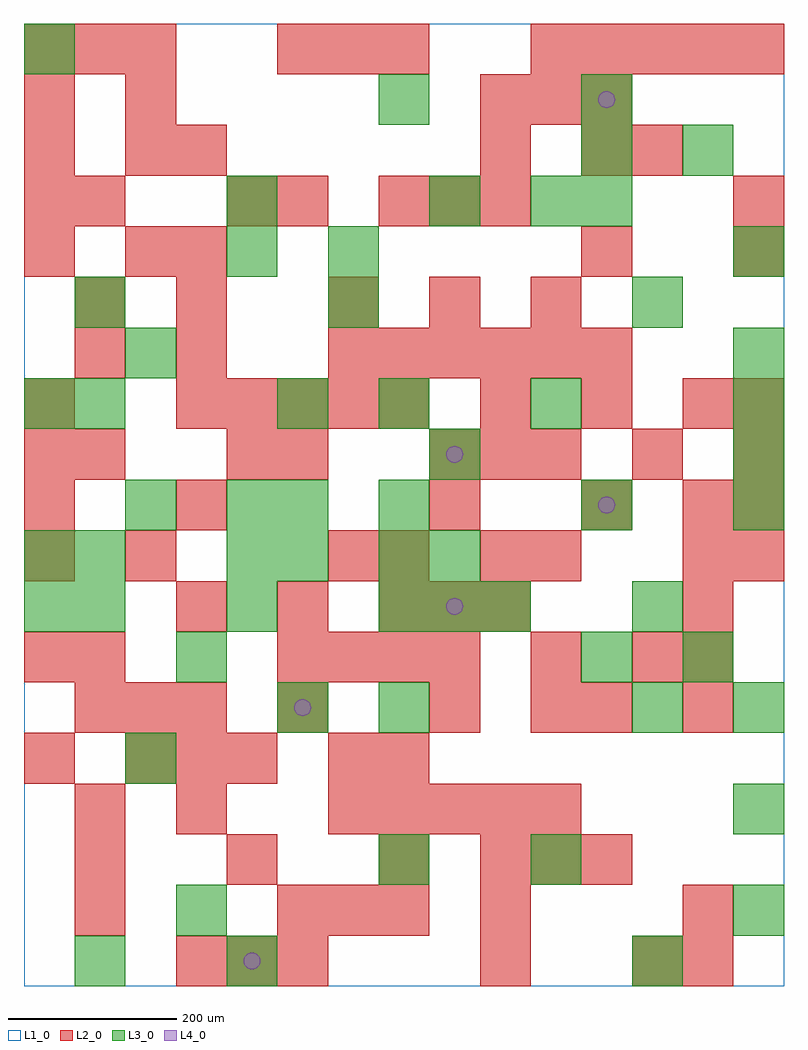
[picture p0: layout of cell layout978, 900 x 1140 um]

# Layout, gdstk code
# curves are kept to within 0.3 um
import gdstk
lib = gdstk.Library(unit=1e-6, precision=1e-09)
def R(c, l, rs):  # rectangles x0, y0, x1, y1
    for r in rs: c.add(gdstk.rectangle(r[:2], r[2:], *l))
def A(c, l, x, y, w, h, nx, ny, dx, dy):  # array of equal rectangles
    R(c, l, [(x+i*dx, y+j*dy, x+i*dx+w, y+j*dy+h) for i in range(nx) for j in range(ny)])
def P(c, l, *ps):  # polygons
    for p in ps: c.add(gdstk.Polygon(p, *l))
L1_0 = (1, 0)
L2_0 = (2, 0)
L3_0 = (3, 0)
L4_0 = (4, 0)

layout978 = lib.new_cell('layout978')
R(layout978, L1_0, [(0,0,900,1140)])
A(layout978, L2_0, 180, 0, 60, 60, 3, 1, 60, 0)
A(layout978, L2_0, 300, 60, 60, 60, 3, 2, 60, 1020)
A(layout978, L2_0, 60, 120, 60, 60, 3, 1, 180, 0)
A(layout978, L2_0, 540, 120, 60, 60, 3, 2, 60, 900)
A(layout978, L2_0, 360, 180, 60, 60, 5, 1, 60, 0)
A(layout978, L2_0, 0, 240, 60, 60, 1, 3, 0, 120)
A(layout978, L2_0, 120, 240, 60, 60, 3, 1, 60, 0)
A(layout978, L2_0, 60, 300, 60, 60, 3, 1, 60, 0)
A(layout978, L2_0, 300, 300, 60, 60, 1, 3, 0, 300)
A(layout978, L2_0, 480, 300, 60, 60, 1, 3, 0, 120)
A(layout978, L2_0, 780, 300, 60, 60, 1, 5, 0, 60)
A(layout978, L2_0, 300, 360, 60, 60, 4, 1, 60, 0)
A(layout978, L2_0, 180, 420, 60, 60, 3, 1, 120, 0)
A(layout978, L2_0, 840, 480, 60, 60, 1, 4, 0, 60)
A(layout978, L2_0, 0, 540, 60, 60, 1, 3, 0, 60)
A(layout978, L2_0, 480, 600, 60, 60, 3, 1, 60, 0)
A(layout978, L2_0, 180, 660, 60, 60, 5, 1, 60, 0)
A(layout978, L2_0, 540, 660, 60, 60, 3, 1, 120, 0)
A(layout978, L2_0, 180, 720, 60, 60, 1, 3, 0, 60)
A(layout978, L2_0, 360, 720, 60, 60, 6, 1, 60, 0)
A(layout978, L2_0, 360, 780, 60, 60, 3, 1, 120, 0)
A(layout978, L2_0, 0, 840, 60, 60, 1, 4, 0, 60)
A(layout978, L2_0, 420, 900, 60, 60, 3, 1, 60, 0)
A(layout978, L2_0, 0, 1080, 60, 60, 3, 1, 60, 0)
A(layout978, L2_0, 600, 1080, 60, 60, 5, 1, 60, 0)
R(layout978, L2_0, [(540,0,600,60), (720,0,780,60), (780,0,840,60), (60,60,120,120), (540,60,600,120), (780,60,840,120), (60,180,120,240), (180,180,240,240), (360,240,420,300), (420,240,480,300), (600,300,660,360), (660,300,720,360), (60,360,120,420), (600,360,660,420), (720,360,780,420), (540,420,600,480), (120,480,180,540), (360,480,420,540), (420,480,480,540), (540,480,600,540), (600,480,660,540), (180,540,240,600), (660,540,720,600), (60,600,120,660), (240,600,300,660), (720,600,780,660), (60,720,120,780), (60,780,120,840), (120,840,180,900), (660,840,720,900), (840,840,900,900), (60,900,120,960), (240,900,300,960), (840,900,900,960), (120,960,180,1020), (180,960,240,1020), (540,960,600,1020), (660,960,720,1020), (720,960,780,1020), (120,1020,180,1080)])
A(layout978, L3_0, 840, 60, 60, 60, 1, 3, 0, 120)
A(layout978, L3_0, 420, 120, 60, 60, 1, 3, 0, 180)
A(layout978, L3_0, 60, 420, 60, 60, 3, 1, 180, 0)
A(layout978, L3_0, 840, 540, 60, 60, 1, 4, 0, 60)
A(layout978, L3_0, 660, 900, 60, 60, 1, 3, 0, 60)
R(layout978, L3_0, [(60,0,120,60), (240,0,300,60), (720,0,780,60), (180,60,240,120), (600,120,660,180), (120,240,180,300), (300,300,360,360), (720,300,780,360), (180,360,240,420), (660,360,720,420), (780,360,840,420), (0,420,60,480), (480,420,540,480), (540,420,600,480), (720,420,780,480), (0,480,60,540), (60,480,120,540), (240,480,300,540), (300,480,360,540), (480,480,540,540), (120,540,180,600), (240,540,300,600), (300,540,360,600), (420,540,480,600), (660,540,720,600), (480,600,540,660), (0,660,60,720), (60,660,120,720), (300,660,360,720), (420,660,480,720), (600,660,660,720), (120,720,180,780), (60,780,120,840), (360,780,420,840), (720,780,780,840), (240,840,300,900), (360,840,420,900), (840,840,900,900), (240,900,300,960), (480,900,540,960), (600,900,660,960), (780,960,840,1020), (420,1020,480,1080), (0,1080,60,1140)])
P(layout978, L4_0, [(280,30),(279.239,33.827),(277.071,37.071),(273.827,39.239),(270,40),(266.173,39.239),(262.929,37.071),(260.761,33.827),(260,30),(260.761,26.173),(262.929,22.929),(266.173,20.761),(270,20),(273.827,20.761),(277.071,22.929),(279.239,26.173)],
  [(340,330),(339.239,333.827),(337.071,337.071),(333.827,339.239),(330,340),(326.173,339.239),(322.929,337.071),(320.761,333.827),(320,330),(320.761,326.173),(322.929,322.929),(326.173,320.761),(330,320),(333.827,320.761),(337.071,322.929),(339.239,326.173)],
  [(520,450),(519.239,453.827),(517.071,457.071),(513.827,459.239),(510,460),(506.173,459.239),(502.929,457.071),(500.761,453.827),(500,450),(500.761,446.173),(502.929,442.929),(506.173,440.761),(510,440),(513.827,440.761),(517.071,442.929),(519.239,446.173)],
  [(520,630),(519.239,633.827),(517.071,637.071),(513.827,639.239),(510,640),(506.173,639.239),(502.929,637.071),(500.761,633.827),(500,630),(500.761,626.173),(502.929,622.929),(506.173,620.761),(510,620),(513.827,620.761),(517.071,622.929),(519.239,626.173)],
  [(700,570),(699.239,573.827),(697.071,577.071),(693.827,579.239),(690,580),(686.173,579.239),(682.929,577.071),(680.761,573.827),(680,570),(680.761,566.173),(682.929,562.929),(686.173,560.761),(690,560),(693.827,560.761),(697.071,562.929),(699.239,566.173)],
  [(700,1050),(699.239,1053.827),(697.071,1057.071),(693.827,1059.239),(690,1060),(686.173,1059.239),(682.929,1057.071),(680.761,1053.827),(680,1050),(680.761,1046.173),(682.929,1042.929),(686.173,1040.761),(690,1040),(693.827,1040.761),(697.071,1042.929),(699.239,1046.173)])

lib.write_gds('layout978.gds')
